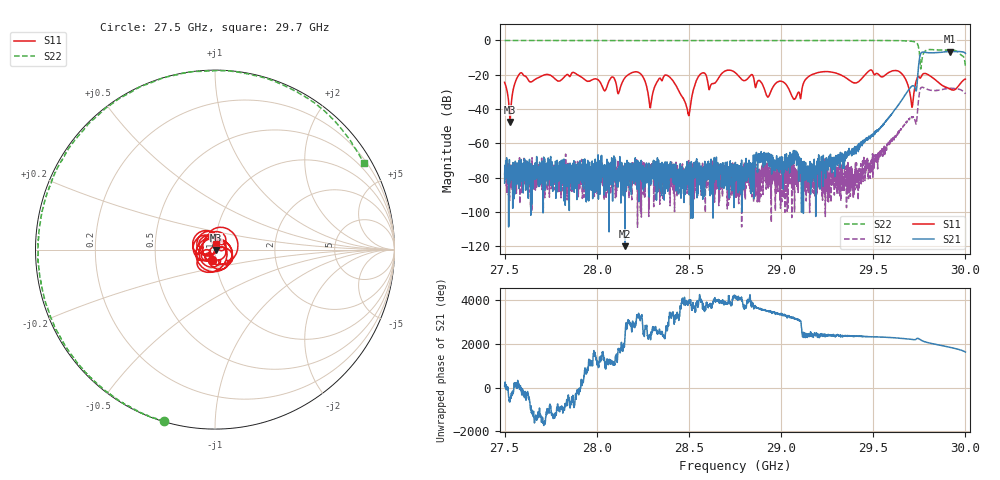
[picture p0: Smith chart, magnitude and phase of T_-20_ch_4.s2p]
!Keysight Technologies,N5234A,MY55441357,A.10.47.05
!Date: Sunday, November 19, 2017 16:08:13
!Correction: S11(Full 2 Port(1,2))
!S21(Full 2 Port(1,2))
!S12(Full 2 Port(1,2))
!S22(Full 2 Port(1,2))
!S2P File: Measurements: S11, S21, S12, S22:
# Hz S  dB  R 50
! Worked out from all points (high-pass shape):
!   2501 points, 27.5 GHz to 30 GHz, reference 50 ohm
!   highest |S21| = -6.44 dB at 29.92 GHz (marker M1); lowest = -119.9 dB at 28.15 GHz (marker M2)
!   |S21| within 3 dB of the highest: 29.75 GHz to end of sweep
!   lowest |S11| = -47.5 dB at 27.53 GHz (marker M3), VSWR 1.01, Z = 50.3 - j0.256 ohm
!   |S11| at or under -10 dB: start of sweep to end of sweep
!   |S22| runs from -16.6 to 0.0 dB; largest |S21 - S12| = 0.51
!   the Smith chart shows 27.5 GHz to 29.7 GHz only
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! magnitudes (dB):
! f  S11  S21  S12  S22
! 27.5 GHz  -24.4  -83.1  -78.4  0.0
! 27.53 GHz  -47.5  -74.8  -72.6  0.0
! 27.59 GHz  -19.0  -72.6  -75.2  0.0
! 27.92 GHz  -21.4  -73.4  -71.2  -0.1
! 28.15 GHz  -21.8  -119.9  -77.8  -0.1
! 28.24 GHz  -19.4  -71.3  -99.5  -0.1
! 28.29 GHz  -39.2  -74.8  -71.8  -0.1
! 28.33 GHz  -22.8  -81.6  -78.3  -0.1
! 28.4 GHz  -21.8  -70.7  -76.8  -0.1
! 28.5 GHz  -43.3  -74.5  -75.6  -0.1
! 28.56 GHz  -19.5  -79.0  -77.0  -0.1
! 28.62 GHz  -26.6  -73.9  -82.6  -0.1
! 28.75 GHz  -18.6  -75.4  -71.9  -0.1
! 29.07 GHz  -34.3  -70.8  -78.5  -0.1
! 29.17 GHz  -19.9  -81.3  -75.3  -0.1
! 29.42 GHz  -23.7  -63.6  -76.0  0.0
! 29.58 GHz  -18.7  -44.9  -59.8  0.0
! 29.66 GHz  -19.7  -34.2  -50.4  -0.1
! 29.71 GHz  -38.3  -26.7  -44.6  -0.5
! 29.77 GHz  -20.2  -6.9  -27.2  -10.7
! 29.92 GHz  -28.3  -6.4  -27.8  -5.6
! 30 GHz  -22.5  -7.5  -31.2  -15.6
